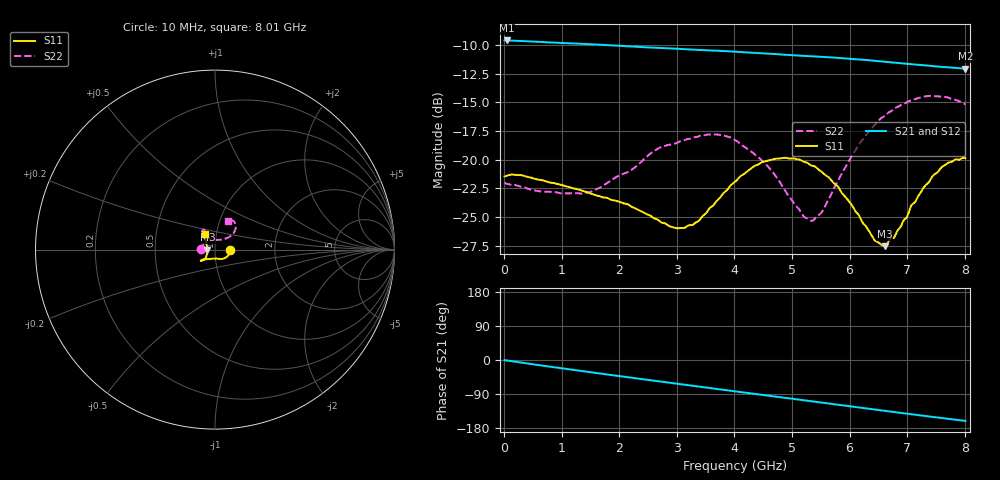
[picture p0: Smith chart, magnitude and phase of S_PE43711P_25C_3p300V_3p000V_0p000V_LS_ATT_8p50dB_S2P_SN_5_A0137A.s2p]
! Device ID: PE43711P
! File Path: z:\PE43711P\CHAR_NOM_04282014\AMB\3p300\LS_ATT_8p50dB\PE43711P_AMB_3p300V_3p000V_0p000V_LS_ATT_8p50dB_S2P_SN_5_A0137A.s2p
! Serial: 5
! Lot: A0137A
! Temp: 25C
! VDD: 3.300
! VSS: 0.000
! Control_Hi: 3.000
! Control_Lo: 0.000
! Attenuation Step: 8.50dB
! Port 1: RF1
! Port 2: RF2
! ThroughPath:1-2
! IDD: 0.0001275401
! ISS: -1.071e-007
#  Hz  S  RI  R  50
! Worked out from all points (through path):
!   801 points, 10 MHz to 8.01 GHz, reference 50 ohm
!   highest |S21| = -9.62 dB at 50 MHz (marker M1); lowest = -12.1 dB at 8.01 GHz (marker M2)
!   group delay of S21, straight-line fit = 55.5 ps
!   lowest |S11| = -27.6 dB at 6.61 GHz (marker M3), VSWR 1.09, Z = 46 + j0.0433 ohm
!   |S11| at or under -10 dB: start of sweep to end of sweep
!   |S22| runs from -25.3 to -14.5 dB; largest |S21 - S12| = 0.00069
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1e7  0.0844 -0.000214  0.3304 -0.00169  0.3307 -0.00177  -0.0792 0.000681
5e7  0.0851 -0.00178  0.3304 -0.00692  0.3306 -0.00689  -0.0784 0.00219
1.35e9  0.0564 -0.0468  0.2792 -0.1555  0.2794 -0.1557  -0.0621 0.0344
2.18e9  0.0348 -0.0527  0.2157 -0.2249  0.216 -0.225  -0.05 0.0737
2.68e9  0.0188 -0.0511  0.171 -0.2546  0.1711 -0.2547  -0.0499 0.1002
2.99e9  0.00401 -0.05  0.1415 -0.2694  0.1416 -0.2695  -0.053 0.1051
3.29e9  -0.013 -0.0506  0.1115 -0.2799  0.1116 -0.2801  -0.058 0.1104
3.69e9  -0.0396 -0.0527  0.0713 -0.2895  0.0711 -0.2894  -0.0681 0.1089
4.01e9  -0.0588 -0.0541  0.0378 -0.2929  0.0377 -0.293  -0.0726 0.0976
4.34e9  -0.0738 -0.0573  0.00409 -0.2918  0.00408 -0.292  -0.0642 0.0843
4.69e9  -0.0796 -0.0614  -0.0307 -0.2866  -0.0308 -0.2866  -0.049 0.0712
5.19e9  -0.0749 -0.0633  -0.0778 -0.2725  -0.0778 -0.2726  -0.0102 0.0561
5.35e9  -0.0715 -0.0609  -0.0922 -0.2664  -0.0923 -0.2666  0.0064 0.0537
5.54e9  -0.0651 -0.058  -0.1089 -0.2581  -0.1088 -0.2583  0.0269 0.054
5.79e9  -0.0568 -0.0514  -0.1299 -0.2453  -0.1301 -0.2452  0.0533 0.06
6.17e9  -0.0467 -0.032  -0.1587 -0.2222  -0.1589 -0.2222  0.0883 0.0768
6.43e9  -0.0425 -0.0135  -0.1758 -0.2042  -0.176 -0.2044  0.105 0.0944
6.61e9  -0.0419 0.00047  -0.1861 -0.1913  -0.1861 -0.1916  0.1111 0.1084
6.68e9  -0.0436 0.00735  -0.1899 -0.1863  -0.1899 -0.1865  0.1131 0.114
7.45e9  -0.0552 0.0647  -0.2219 -0.1264  -0.222 -0.1265  0.1016 0.1594
7.7e9  -0.0585 0.0766  -0.2287 -0.1067  -0.2286 -0.1065  0.0884 0.1643
8.01e9  -0.0564 0.0842  -0.2352 -0.082  -0.2354 -0.0813  0.075 0.1571
